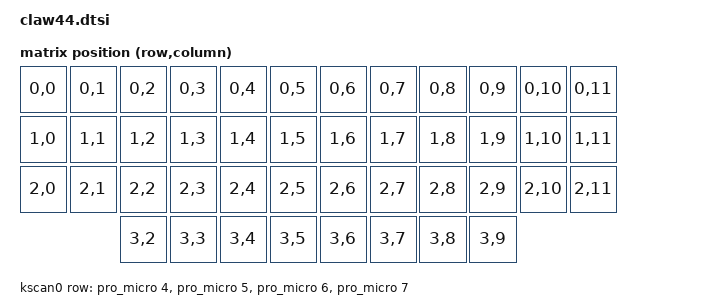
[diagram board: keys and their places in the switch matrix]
/*
 * Copyright (c) 2021 The ZMK Contributors
 *
 * SPDX-License-Identifier: MIT
 */

#include <dt-bindings/zmk/matrix_transform.h>

/ {
    chosen {
        zmk,kscan = &kscan0;
        zmk,matrix-transform = &default_transform;
        zmk,underglow = &led_strip;
    };

    default_transform: keymap_transform_0 {
        compatible = "zmk,matrix-transform";
        columns = <12>;
        rows = <4>;
        map = <
RC(0,0) RC(0,1) RC(0,2) RC(0,3) RC(0,4) RC(0,5)    RC(0,6) RC(0,7) RC(0,8) RC(0,9) RC(0,10) RC(0,11)
RC(1,0) RC(1,1) RC(1,2) RC(1,3) RC(1,4) RC(1,5)    RC(1,6) RC(1,7) RC(1,8) RC(1,9) RC(1,10) RC(1,11)
RC(2,0) RC(2,1) RC(2,2) RC(2,3) RC(2,4) RC(2,5)    RC(2,6) RC(2,7) RC(2,8) RC(2,9) RC(2,10) RC(2,11)
                RC(3,2) RC(3,3) RC(3,4) RC(3,5)    RC(3,6) RC(3,7) RC(3,8) RC(3,9)
        >;
    };

    kscan0: kscan {
        compatible = "zmk,kscan-gpio-matrix";
        wakeup-source;

        diode-direction = "col2row";
        row-gpios
            = <&pro_micro 4 (GPIO_ACTIVE_HIGH | GPIO_PULL_DOWN)>
            , <&pro_micro 5 (GPIO_ACTIVE_HIGH | GPIO_PULL_DOWN)>
            , <&pro_micro 6 (GPIO_ACTIVE_HIGH | GPIO_PULL_DOWN)>
            , <&pro_micro 7 (GPIO_ACTIVE_HIGH | GPIO_PULL_DOWN)>
            ;

    };

    // 1. P0.13を電源制御スイッチとして定義
    vcc_switch: vcc_switch {
        compatible = "zmk,gpio-on-off";
        label = "VCC_SWITCH";
        status = "okay";
        gpios = <&gpio0 13 GPIO_ACTIVE_HIGH>;
    };

    // 2. ZMKの外部電源管理に上記スイッチを紐付け
    ext-power {
        compatible = "zmk,ext-power-generic";
        control-gpios = <&gpio0 13 GPIO_ACTIVE_HIGH>;
        init-delay-ms = <50>;
    };

};

&pro_micro_i2c {
    status = "okay";

    oled: ssd1306@3c {
        compatible = "solomon,ssd1306fb";
        reg = <0x3c>;
        width = <128>;
        height = <32>;
        segment-offset = <0>;
        page-offset = <0>;
        display-offset = <0>;
        multiplex-ratio = <31>;
        segment-remap;
        com-invdir;
        com-sequential;
        inversion-on;
        prechargep = <0x22>;
    };
};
